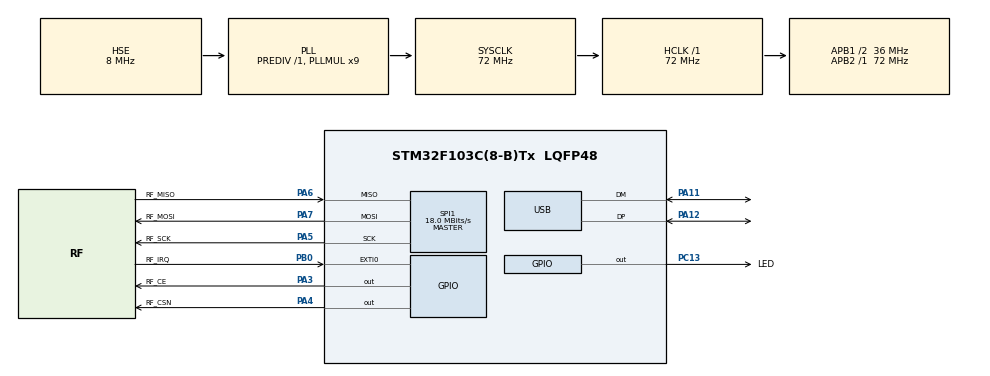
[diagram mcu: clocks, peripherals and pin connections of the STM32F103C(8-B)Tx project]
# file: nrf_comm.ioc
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Mcu.Family=STM32F1
Mcu.Name=STM32F103C(8-B)Tx
Mcu.Package=LQFP48
NVIC.EXTI0_IRQn=true\:0\:0\:false\:false\:true\:true\:true
NVIC.PriorityGroup=NVIC_PRIORITYGROUP_4
NVIC.SPI1_IRQn=true\:0\:0\:false\:false\:true\:true\:true
NVIC.USB_LP_CAN1_RX0_IRQn=true\:0\:0\:false\:false\:true\:false\:true
PA11.Mode=Device
PA11.Signal=USB_DM
PA12.Mode=Device
PA12.Signal=USB_DP
PA13.Mode=Serial_Wire
PA13.Signal=SYS_JTMS-SWDIO
PA14.Mode=Serial_Wire
PA14.Signal=SYS_JTCK-SWCLK
PA3.GPIO_Label=RF_CE
PA3.Signal=GPIO_Output
PA4.GPIO_Label=RF_CSN
PA4.Signal=GPIO_Output
PA5.GPIO_Label=RF_SCK
PA5.Mode=Full_Duplex_Master
PA5.Signal=SPI1_SCK
PA6.GPIO_Label=RF_MISO
PA6.Mode=Full_Duplex_Master
PA6.Signal=SPI1_MISO
PA7.GPIO_Label=RF_MOSI
PA7.Mode=Full_Duplex_Master
PA7.Signal=SPI1_MOSI
PB0.GPIO_Label=RF_IRQ
PB0.GPIO_ModeDefaultEXTI=GPIO_MODE_IT_FALLING
PB0.Signal=GPXTI0
PC13-TAMPER-RTC.GPIO_Label=LED
PC13-TAMPER-RTC.Signal=GPIO_Output
PD0-OSC_IN.Mode=HSE-External-Oscillator
PD0-OSC_IN.Signal=RCC_OSC_IN
PD1-OSC_OUT.Mode=HSE-External-Oscillator
PD1-OSC_OUT.Signal=RCC_OSC_OUT
ProjectManager.HeapSize=0x200
ProjectManager.StackSize=0x400
ProjectManager.TargetToolchain=STM32CubeIDE
RCC.AHBFreq_Value=72000000
RCC.APB1CLKDivider=RCC_HCLK_DIV2
RCC.APB1Freq_Value=36000000
RCC.APB1TimFreq_Value=72000000
RCC.APB2Freq_Value=72000000
RCC.APB2TimFreq_Value=72000000
RCC.HCLKFreq_Value=72000000
RCC.PLLMUL=RCC_PLL_MUL9
RCC.SYSCLKFreq_VALUE=72000000
RCC.SYSCLKSource=RCC_SYSCLKSOURCE_PLLCLK
RCC.USBFreq_Value=48000000
RCC.USBPrescaler=RCC_USBCLKSOURCE_PLL_DIV1_5
SPI1.BaudRatePrescaler=SPI_BAUDRATEPRESCALER_4
SPI1.CalculateBaudRate=18.0 MBits/s
SPI1.Direction=SPI_DIRECTION_2LINES
SPI1.Mode=SPI_MODE_MASTER
SPI1.VirtualType=VM_MASTER
USB_DEVICE.CLASS_NAME_FS=CDC
USB_DEVICE.PRODUCT_STRING_CDC_FS=STM_NRF
USB_DEVICE.VirtualMode=Cdc
USB_DEVICE.VirtualModeFS=Cdc_FS
VP_USB_DEVICE_VS_USB_DEVICE_CDC_FS.Mode=CDC_FS
board=custom

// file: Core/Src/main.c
/* USER CODE BEGIN Header */
/**
  ******************************************************************************
  * @file           : main.c
  * @brief          : Main program body
  ******************************************************************************
  * @attention
  *
  * <h2><center>&copy; Copyright (c) 2019 STMicroelectronics.
  * All rights reserved.</center></h2>
  *
  * This software component is licensed by ST under BSD 3-Clause license,
  * the "License"; You may not use this file except in compliance with the
  * License. You may obtain a copy of the License at:
  *                        opensource.org/licenses/BSD-3-Clause
  *
  ******************************************************************************
  */
/* USER CODE END Header */

#include "main.h"
#include "usb_device.h"

/* USER CODE BEGIN Includes */
#include "usbd_cdc_if.h"
/* USER CODE END Includes */

/* USER CODE BEGIN PD */
#define nRF_Canal 92
#define NUM_CHARS 256
/* USER CODE END PD */

SPI_HandleTypeDef hspi1;

/* USER CODE BEGIN PV */
//uint8_t static nRFint_guard = 0; //não executar ainda interrupções que porventura cheguem em nRF_pinIRQ
uint8_t rf_tx_buffer[NUM_CHARS] = {0};
/* USER CODE END PV */

void SystemClock_Config(void);
static void MX_GPIO_Init(void);
static void MX_SPI1_Init(void);
/* USER CODE BEGIN PFP */
void rx_task(void);
uint8_t convert2ascii(uint8_t num);
void printAscii(uint8_t byte);
/* USER CODE END PFP */

/* USER CODE BEGIN 0 */
uint8_t rx_buf[PAYLOAD_WIDTH];
uint8_t rx_payloadWidth = 0;
uint8_t rx_newPayload = 0;
/* USER CODE END 0 */

int main(void)
{

  /* MCU Configuration--------------------------------------------------------*/

  /* Reset of all peripherals, Initializes the Flash interface and the Systick. */
  HAL_Init();

  /* Configure the system clock */
  SystemClock_Config();

  /* Initialize all configured peripherals */
  MX_GPIO_Init();
  MX_SPI1_Init();
  MX_USB_DEVICE_Init();
  /* USER CODE BEGIN 2 */

  nRF24L01_STM32(hspi1); // Set the SPI parameters for the nRF library

  // ****** debug ****** INICIO
  HAL_Delay(5000);

  uint8_t bbb[] = {"Regitrador STATUS antes do Init:\n"};
  CDC_Transmit_FS(bbb, sizeof(bbb));
  HAL_Delay(10);

  uint8_t sta = SPI_read2(NRF_STATUS);
  uint8_t setup_aw = SPI_read2(SETUP_AW);
  uint8_t en_aa = SPI_read2(EN_AA);
  uint8_t rf_ch = SPI_read2(RF_CH);

  printAscii(sta);
  printAscii(setup_aw);
  printAscii(en_aa);
  printAscii(rf_ch);

  uint8_t sep[] = {"-------------\n"};
  CDC_Transmit_FS(sep, sizeof(sep));

  // ****** debug ****** FIM

  // Initiate the nRF with the channel, data rate and tx power parameters
  uint8_t status = init(nRF_Canal, RF_DATA_RATE_1Mbps, RF_TX_POWER_0dBm);

  // ****** debug ******

  uint8_t ddd[] = {"Regitrador STATUS depois do Init:\n"};
  CDC_Transmit_FS(ddd, sizeof(ddd));
  HAL_Delay(10);

  uint8_t _setup_aw = SPI_read2(SETUP_AW);
  uint8_t _en_aa = SPI_read2(EN_AA);
  uint8_t _rf_ch = SPI_read2(RF_CH);

  printAscii(status);
  printAscii(_setup_aw);
  printAscii(_en_aa);
  printAscii(_rf_ch);

  // ****** debug ****** FIM

  nRFint_guard = 1; //liberar execução da interrupção externa

  /* USER CODE END 2 */

  /* Infinite loop */
  while (1)
  {

    /* USER CODE BEGIN 3 */
	  /*
	  if(HAL_GPIO_ReadPin(RF_IRQ_GPIO_Port, RF_IRQ_Pin) == 0)
	  {
		  uint8_t fff[] = {"Chegou um trem\n"};
		  CDC_Transmit_FS(fff, sizeof(fff));
		  RF_IRQ();
	  }*/
	  rx_task();
  }
  /* USER CODE END 3 */
}

void SystemClock_Config(void)
{
  RCC_OscInitTypeDef RCC_OscInitStruct = {0};
  RCC_ClkInitTypeDef RCC_ClkInitStruct = {0};
  RCC_PeriphCLKInitTypeDef PeriphClkInit = {0};

  /** Initializes the CPU, AHB and APB busses clocks
  */
  RCC_OscInitStruct.OscillatorType = RCC_OSCILLATORTYPE_HSE;
  RCC_OscInitStruct.HSEState = RCC_HSE_ON;
  RCC_OscInitStruct.HSEPredivValue = RCC_HSE_PREDIV_DIV1;
  RCC_OscInitStruct.HSIState = RCC_HSI_ON;
  RCC_OscInitStruct.PLL.PLLState = RCC_PLL_ON;
  RCC_OscInitStruct.PLL.PLLSource = RCC_PLLSOURCE_HSE;
  RCC_OscInitStruct.PLL.PLLMUL = RCC_PLL_MUL9;
  if (HAL_RCC_OscConfig(&RCC_OscInitStruct) != HAL_OK)
  {
    Error_Handler();
  }
  /** Initializes the CPU, AHB and APB busses clocks
  */
  RCC_ClkInitStruct.ClockType = RCC_CLOCKTYPE_HCLK|RCC_CLOCKTYPE_SYSCLK
                              |RCC_CLOCKTYPE_PCLK1|RCC_CLOCKTYPE_PCLK2;
  RCC_ClkInitStruct.SYSCLKSource = RCC_SYSCLKSOURCE_PLLCLK;
  RCC_ClkInitStruct.AHBCLKDivider = RCC_SYSCLK_DIV1;
  RCC_ClkInitStruct.APB1CLKDivider = RCC_HCLK_DIV2;
  RCC_ClkInitStruct.APB2CLKDivider = RCC_HCLK_DIV1;

  if (HAL_RCC_ClockConfig(&RCC_ClkInitStruct, FLASH_LATENCY_2) != HAL_OK)
  {
    Error_Handler();
  }
  PeriphClkInit.PeriphClockSelection = RCC_PERIPHCLK_USB;
  PeriphClkInit.UsbClockSelection = RCC_USBCLKSOURCE_PLL_DIV1_5;
  if (HAL_RCCEx_PeriphCLKConfig(&PeriphClkInit) != HAL_OK)
  {
    Error_Handler();
  }
}

static void MX_SPI1_Init(void)
{

  /* SPI1 parameter configuration*/
  hspi1.Instance = SPI1;
  hspi1.Init.Mode = SPI_MODE_MASTER;
  hspi1.Init.Direction = SPI_DIRECTION_2LINES;
  hspi1.Init.DataSize = SPI_DATASIZE_8BIT;
  hspi1.Init.CLKPolarity = SPI_POLARITY_LOW;
  hspi1.Init.CLKPhase = SPI_PHASE_1EDGE;
  hspi1.Init.NSS = SPI_NSS_SOFT;
  hspi1.Init.BaudRatePrescaler = SPI_BAUDRATEPRESCALER_4;
  hspi1.Init.FirstBit = SPI_FIRSTBIT_MSB;
  hspi1.Init.TIMode = SPI_TIMODE_DISABLE;
  hspi1.Init.CRCCalculation = SPI_CRCCALCULATION_DISABLE;
  hspi1.Init.CRCPolynomial = 10;
  if (HAL_SPI_Init(&hspi1) != HAL_OK)
  {
    Error_Handler();
  }

}

static void MX_GPIO_Init(void)
{
  GPIO_InitTypeDef GPIO_InitStruct = {0};

  /* GPIO Ports Clock Enable */
  __HAL_RCC_GPIOC_CLK_ENABLE();
  __HAL_RCC_GPIOD_CLK_ENABLE();
  __HAL_RCC_GPIOA_CLK_ENABLE();
  __HAL_RCC_GPIOB_CLK_ENABLE();

  /*Configure GPIO pin Output Level */
  HAL_GPIO_WritePin(LED_GPIO_Port, LED_Pin, GPIO_PIN_RESET);

  /*Configure GPIO pin Output Level */
  HAL_GPIO_WritePin(GPIOA, RF_CE_Pin|RF_CSN_Pin, GPIO_PIN_RESET);

  /*Configure GPIO pin : LED_Pin */
  GPIO_InitStruct.Pin = LED_Pin;
  GPIO_InitStruct.Mode = GPIO_MODE_OUTPUT_PP;
  GPIO_InitStruct.Pull = GPIO_NOPULL;
  GPIO_InitStruct.Speed = GPIO_SPEED_FREQ_LOW;
  HAL_GPIO_Init(LED_GPIO_Port, &GPIO_InitStruct);

  /*Configure GPIO pins : RF_CE_Pin RF_CSN_Pin */
  GPIO_InitStruct.Pin = RF_CE_Pin|RF_CSN_Pin;
  GPIO_InitStruct.Mode = GPIO_MODE_OUTPUT_PP;
  GPIO_InitStruct.Pull = GPIO_NOPULL;
  GPIO_InitStruct.Speed = GPIO_SPEED_FREQ_LOW;
  HAL_GPIO_Init(GPIOA, &GPIO_InitStruct);

  /*Configure GPIO pin : RF_IRQ_Pin */
  GPIO_InitStruct.Pin = RF_IRQ_Pin;
  GPIO_InitStruct.Mode = GPIO_MODE_IT_FALLING;
  GPIO_InitStruct.Pull = GPIO_NOPULL;
  HAL_GPIO_Init(RF_IRQ_GPIO_Port, &GPIO_InitStruct);

  /* EXTI interrupt init*/
  HAL_NVIC_SetPriority(EXTI0_IRQn, 0, 0);
  HAL_NVIC_EnableIRQ(EXTI0_IRQn);

}

/* USER CODE BEGIN 4 */
void rx_task()
{
    //Verificar se chegou (recebeu) um novo pacote pelo canal RF.
    //(O MIP enviou um pacote para o HOST).
    if (rx_newPayload > 0)  //newPayload setada em IRQ de chegada de novo pacote (RX)
    {
        rx_newPayload = 0; //sdinalizar payload recebida
        uint8_t rrr[] = {"Entrou no rx task\n"};
        CDC_Transmit_FS(rrr, sizeof(rrr));

        if(rx_payloadWidth > 0) //Se a interrupção foi gerado por algum ruído etc, não teremos dados no payload
        {
          //Enviar pacote recebido para o código do HOST (Visual Studio) via serial COMM (USB)
          //Serial.write(host_nrf.rx_buf, host_nrf.rx_payloadWidth);

        	HAL_Delay(10);
        	CDC_Transmit_FS(rx_buf, rx_payloadWidth);
        	HAL_Delay(10);
        	uint8_t nl = '\n';
        	CDC_Transmit_FS(&nl, 1);
        	HAL_Delay(10);
        }
    }
}

uint8_t convert2ascii(uint8_t num)
{
	if(num <= 0x09)
	{
		num = num + 0x30;
	}
	else
	{
		num = num + 0x37;
	}
	return num;
}
void printAscii(uint8_t byte)
{
	uint8_t sta[3];
  sta[0] = ((byte & 0xF0) >> 4); //MSB
  sta[0] = convert2ascii(sta[0]);
  sta[1] = (byte & 0x0F);
  sta[1] = convert2ascii(sta[1]);//LSB
  sta[2] = '\n';

  CDC_Transmit_FS(sta, 3);
  HAL_Delay(10);
}

void HAL_GPIO_EXTI_Callback(uint16_t GPIO_Pin)
{
  if(GPIO_Pin == RF_IRQ_Pin)
  {
	  //rx_newPayload = 1;
	  //HAL_GPIO_TogglePin(LED_GPIO_Port, LED_Pin);
	  //uint8_t fff[] = {"Chegou um trem\n"};
	  //CDC_Transmit_FS(fff, sizeof(fff));
	  //HAL_Delay(10);
	  //printAscii(SPI_read2(NRF_STATUS));
	  //uint8_t sta_val = 0x70;
	  //SPI_Write_Reg(NRF_STATUS, &sta_val);
	  //uint8_t tamanho = SPI_Read(R_RX_PLD_WIDTH);
	  //SPI_Read_Buf(R_RX_PAYLOAD, &rxx_buf, tamanho);
	  //CDC_Transmit_FS(rxx_buf, sizeof(rxx_buf));
	  //uint8_t fifo_sta = SPI_read2(FIFO_STATUS);
	  //printAscii(fifo_sta);

	  if(nRFint_guard > 0)
		  RF_IRQ(rx_buf, &rx_payloadWidth, &rx_newPayload);

  }
}

/* USER CODE END 4 */

void Error_Handler(void)
{
}

/************************ (C) COPYRIGHT STMicroelectronics *****END OF FILE****/
